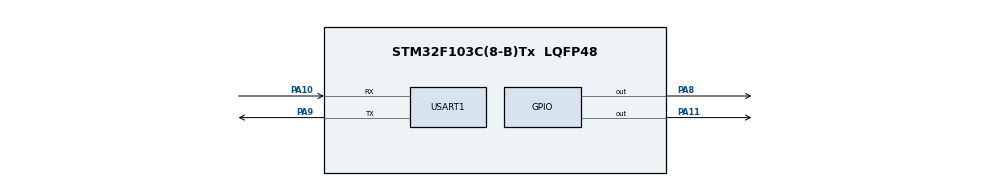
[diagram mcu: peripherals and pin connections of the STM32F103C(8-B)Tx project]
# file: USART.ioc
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Mcu.Family=STM32F1
Mcu.Name=STM32F103C(8-B)Tx
Mcu.Package=LQFP48
NVIC.PriorityGroup=NVIC_PRIORITYGROUP_4
NVIC.USART1_IRQn=true\:0\:0\:false\:false\:true\:true\:true\:true
PA10.Mode=Asynchronous
PA10.Signal=USART1_RX
PA11.Signal=GPIO_Output
PA13.Mode=Serial_Wire
PA13.Signal=SYS_JTMS-SWDIO
PA14.Mode=Serial_Wire
PA14.Signal=SYS_JTCK-SWCLK
PA8.Signal=GPIO_Output
PA9.Mode=Asynchronous
PA9.Signal=USART1_TX
PD0-OSC_IN.Mode=HSE-External-Oscillator
PD0-OSC_IN.Signal=RCC_OSC_IN
PD1-OSC_OUT.Mode=HSE-External-Oscillator
PD1-OSC_OUT.Signal=RCC_OSC_OUT
ProjectManager.HeapSize=0x200
ProjectManager.StackSize=0x400
ProjectManager.TargetToolchain=STM32CubeIDE
RCC.APB1Freq_Value=8000000
RCC.APB2Freq_Value=8000000
USART1.VirtualMode=VM_ASYNC
board=custom

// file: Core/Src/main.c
/* USER CODE BEGIN Header */
/**
  ******************************************************************************
  * @file           : main.c
  * @brief          : Main program body
  ******************************************************************************
  * @attention
  *
  * Copyright (c) 2026 STMicroelectronics.
  * All rights reserved.
  *
  * This software is licensed under terms that can be found in the LICENSE file
  * in the root directory of this software component.
  * If no LICENSE file comes with this software, it is provided AS-IS.
  *
  ******************************************************************************
  */
/* USER CODE END Header */
#include "main.h"
#include "usart.h"
#include "gpio.h"

/* USER CODE BEGIN PTD */
/* state machine for uart */
typedef enum {
    UART_IDLE,
    UART_WAIT_COLON,
    UART_WAIT_VALUE
} UART_State_t;

/* USER CODE END PTD */

/* USER CODE BEGIN PV */
UART_State_t uartState = UART_IDLE;  // khởi tạo state machine
uint8_t rx_data; // Nhận từng byte
char cmd_type;   // Lưu loại lệnh

void SystemClock_Config(void);

int main(void)
{

  /* MCU Configuration--------------------------------------------------------*/

  /* Reset of all peripherals, Initializes the Flash interface and the Systick. */
  HAL_Init();

  /* Configure the system clock */
  SystemClock_Config();

  /* Initialize all configured peripherals */
  MX_GPIO_Init();
  MX_USART1_UART_Init();
  /* USER CODE BEGIN 2 */
  uint8_t msg[] = "Hello PC from STM32!\r\n";
  uint8_t rxData; // Biến lưu dữ liệu nhận được
  /* Gửi dữ liệu qua USART1
  	Tham số: (Bộ UART, Mảng dữ liệu, Độ dài, Thời gian chờ tối đa) */
  HAL_UART_Transmit(&huart1, msg, sizeof(msg)-1, 100);
  HAL_UART_Receive_IT(&huart1, &rx_data, 1); // kích hoạt ngắt lần đầu
  /* USER CODE END 2 */

  /* Infinite loop */
  /* USER CODE BEGIN WHILE */
  while (1)
  {
//	HAL_GPIO_TogglePin(GPIOA, GPIO_PIN_8);
	/* Đợi nhận 1 byte từ PC */
//	if (HAL_UART_Receive(&huart1, &rxData, 1, 10) == HAL_OK)
//	{
//		/* Gửi ngược lại byte vừa nhận được (Echo) */
//		HAL_UART_Transmit(&huart1, &rxData, 1, 10);
//	}
    /* USER CODE END WHILE */

  }
}

void SystemClock_Config(void)
{
  RCC_OscInitTypeDef RCC_OscInitStruct = {0};
  RCC_ClkInitTypeDef RCC_ClkInitStruct = {0};

  /** Initializes the RCC Oscillators according to the specified parameters
  * in the RCC_OscInitTypeDef structure.
  */
  RCC_OscInitStruct.OscillatorType = RCC_OSCILLATORTYPE_HSI;
  RCC_OscInitStruct.HSIState = RCC_HSI_ON;
  RCC_OscInitStruct.HSICalibrationValue = RCC_HSICALIBRATION_DEFAULT;
  RCC_OscInitStruct.PLL.PLLState = RCC_PLL_NONE;
  if (HAL_RCC_OscConfig(&RCC_OscInitStruct) != HAL_OK)
  {
    Error_Handler();
  }

  /** Initializes the CPU, AHB and APB buses clocks
  */
  RCC_ClkInitStruct.ClockType = RCC_CLOCKTYPE_HCLK|RCC_CLOCKTYPE_SYSCLK
                              |RCC_CLOCKTYPE_PCLK1|RCC_CLOCKTYPE_PCLK2;
  RCC_ClkInitStruct.SYSCLKSource = RCC_SYSCLKSOURCE_HSI;
  RCC_ClkInitStruct.AHBCLKDivider = RCC_SYSCLK_DIV1;
  RCC_ClkInitStruct.APB1CLKDivider = RCC_HCLK_DIV1;
  RCC_ClkInitStruct.APB2CLKDivider = RCC_HCLK_DIV1;

  if (HAL_RCC_ClockConfig(&RCC_ClkInitStruct, FLASH_LATENCY_0) != HAL_OK)
  {
    Error_Handler();
  }
}

/* USER CODE BEGIN 4 */
/**
  * @brief  State Machine
  */

void HAL_UART_RxCpltCallback(UART_HandleTypeDef *huart) {
    if (huart->Instance == USART1) {
    	if (rx_data < 32 && rx_data != 0) {
			HAL_UART_Receive_IT(huart, &rx_data, 1);
			return;
    	}
        switch (uartState) {
            case UART_IDLE:
                if (rx_data == 'L') { // Nhận diện Header là lệnh LED
                    cmd_type = rx_data;
                    uartState = UART_WAIT_COLON;
                }
                break;

            case UART_WAIT_COLON:
                if (rx_data == ':') {
                    uartState = UART_WAIT_VALUE;
                    HAL_UART_Transmit(huart, (uint8_t*)"[COLON_OK\n]", 10, 100);
                } else {
                    uartState = UART_IDLE; // Sai cú pháp, quay về chờ lại
                }
                break;

            case UART_WAIT_VALUE:
                if (rx_data == '1') {
                    HAL_GPIO_WritePin(GPIOA, GPIO_PIN_8, GPIO_PIN_SET);
                    uint8_t buff[] = "RES:LED_ON_OK\r\n";
                    HAL_UART_Transmit(huart, buff, sizeof(buff)-1, 100);
                }
                else if (rx_data == '0') {
                    HAL_GPIO_WritePin(GPIOA, GPIO_PIN_8, GPIO_PIN_RESET);
                    uint8_t buff[] = "RES:LED_OFF_OK\r\n";
					HAL_UART_Transmit(huart, buff, sizeof(buff)-1, 100);
                }
                uartState = UART_IDLE; // Xong việc, quay về trạng thái chờ
                break;

            default:
                uartState = UART_IDLE;
                break;
        }

        // Luôn gọi lại để nhận byte tiếp theo
        HAL_UART_Receive_IT(huart, &rx_data, 1);
    }
}
/* USER CODE END 4 */

/* USER CODE END 4 */

void Error_Handler(void)
{
  __disable_irq();
  while (1)
  {
  }
}
